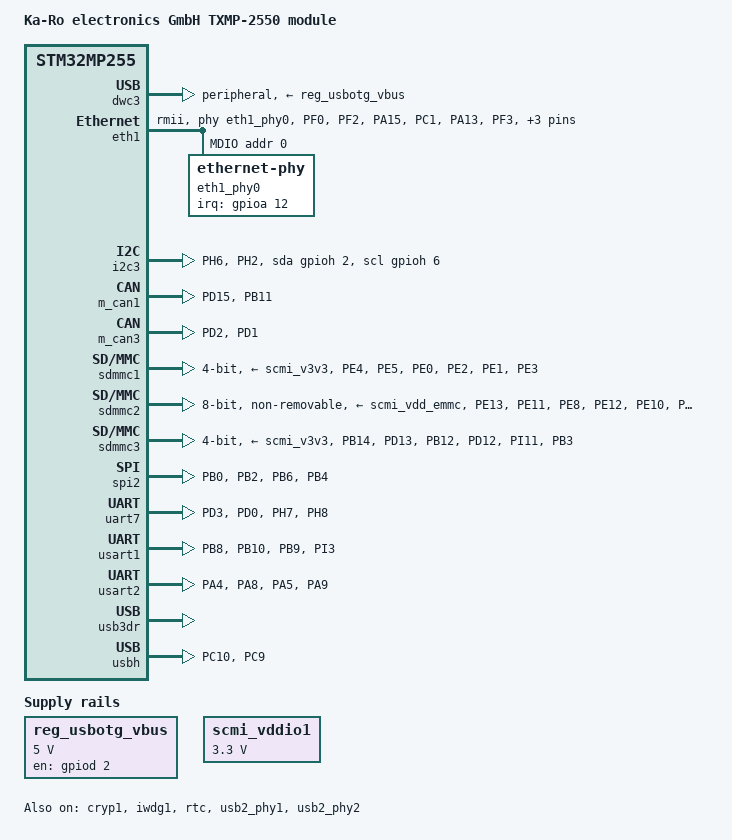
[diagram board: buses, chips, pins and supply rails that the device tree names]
// SPDX-License-Identifier: (GPL-2.0-only OR BSD-3-Clause)
/*
 * Copyright (C) 2024 Lothar Waßmann <LW@KARO-electronics.de>
 */

/dts-v1/;

#include <dt-bindings/clock/st,stm32mp25-rcc.h>
#include <dt-bindings/gpio/gpio.h>
#include <dt-bindings/interrupt-controller/irq.h>
#include <dt-bindings/phy/phy.h>
#include <dt-bindings/pinctrl/stm32-pinfunc.h>
#include "stm32mp25-karo-resmem.dtsi"
#include "stm32mp255.dtsi"
#include "stm32mp25xc.dtsi"
#include "stm32mp25xxak-pinctrl.dtsi"

/ {
	model = "Ka-Ro electronics GmbH TXMP-2550 module";
	compatible = "karo,stm32mp257f-txmp-2550", "karo,txmp", "st,stm32mp255";

	aliases {
		can0 = &m_can1;
		can1 = &m_can3;
		ethernet0 = &eth1;
		ethernet1 = &eth2;
		i2c0 = &i2c3;
		i2c1 = &i2c1;
		i2c2 = &i2c2;
		i2c3 = &i2c4;
		i2c4 = &i2c8;
		i2c5 = &i2c6;
		i2c6 = &i2c5;
		mmc0 = &sdmmc2;
		mmc1 = &sdmmc1;
		mmc2 = &sdmmc3;
		sai1 = &sai1;
		serial0 = &usart2;
		serial1 = &usart1;
		serial2 = &uart7;
		serial6 = &usart3;
		spi0 = &spi2;
		spi1 = &spi1;
		usb-host = &usbh;
		usbotg = &dwc3;
	};

	chosen {
		stdout-path = "serial0:115200n8";
	};

	reg_usbotg_vbus: usbotg-vbus-regulator {
		compatible = "regulator-fixed";
		gpios = <&gpiod 2 GPIO_ACTIVE_HIGH>;
		enable-active-high;
		regulator-name = "usbotg-vbus";
		regulator-min-microvolt = <5000000>;
		regulator-max-microvolt = <5000000>;
	};
};

&cryp1 {
	status = "okay";
};

&dwc3 {
	dr_mode = "peripheral";
	vbus-supply = <&reg_usbotg_vbus>;
};

&eth1 {
	pinctrl-names = "default", "sleep";
	pinctrl-0 = <&eth1_mdio_pins &eth1_rmii_pins>;
	pinctrl-1 = <&eth1_mdio_sleep_pins &eth1_rmii_sleep_pins>;
#if 0
	snps,reset-gpios = <&gpioa 14 GPIO_ACTIVE_LOW>;
	snps,reset-delays-us = <0 25000 100>;
#endif
	phy-mode = "rmii";
	phy-handle = <&eth1_phy0>;
	st,eth-ref-clk-sel;
	status = "okay";

	mdio {
		compatible = "snps,dwmac-mdio";
		#address-cells = <1>;
		#size-cells = <0>;
		reset-gpios = <&gpioa 14 GPIO_ACTIVE_LOW>;
		reset-assert-us = <25000>;
		reset-deassert-us = <100>;

		eth1_phy0: ethernet-phy@0 {
			reg = <0>;
			clocks = <&rcc CK_KER_ETH1>;
			interrupt-parent = <&gpioa>;
			interrupts = <12 IRQ_TYPE_EDGE_FALLING>;
			smsc,disable-energy-detect;
		};
	};
};

&hpdma {
	memory-region = <&hpdma1_lli>;
};

&hpdma2 {
	memory-region = <&hpdma2_lli>;
};

&hpdma3 {
	memory-region = <&hpdma3_lli>;
};

&i2c3 {
	pinctrl-names = "default", "sleep";
	pinctrl-0 = <&i2c3_pins>;
	pinctrl-1 = <&i2c3_sleep_pins>;
	scl-gpios = <&gpioh 6 GPIO_ACTIVE_HIGH>;
	sda-gpios = <&gpioh 2 GPIO_ACTIVE_HIGH>;
};

&iwdg1 {
	status = "okay";
};

&m_can1 {
	pinctrl-names = "default", "sleep";
	pinctrl-0 = <&fdcan1_pins>;
	pinctrl-1 = <&fdcan1_sleep_pins>;
};

&m_can3 {
	pinctrl-names = "default", "sleep";
	pinctrl-0 = <&fdcan3_pins>;
	pinctrl-1 = <&fdcan3_sleep_pins>;
};

&rtc {
	status = "okay";
};

&scmi_regu {
	scmi_vddcore: voltd-vddcore@b {
		reg = <VOLTD_SCMI_STPMIC2_BUCK2>;
		regulator-name = "vddcore";
	};

	scmi_v1v8: voltd-v1v8@e {
		reg = <VOLTD_SCMI_STPMIC2_BUCK5>;
		regulator-name = "v1v8";
	};

	scmi_v3v3: voltd-v3v3@10 {
		reg = <VOLTD_SCMI_STPMIC2_BUCK7>;
		regulator-name = "v3v3";
	};

	scmi_vdd_emmc: voltd-vdd-emmc@12 {
		reg = <VOLTD_SCMI_STPMIC2_LDO2>;
		regulator-name = "vdd_emmc";
	};

	scmi_vdd3v3_usb: voltd-vdd3v3-usb@14 {
		reg = <VOLTD_SCMI_STPMIC2_LDO4>;
		regulator-name = "vdd3v3_usb";
	};
};

&scmi_vddio1 {
	regulator-min-microvolt = <3300000>;
	regulator-max-microvolt = <3300000>;
};

&sdmmc1 {
	/* SD card slot #1 */
	pinctrl-names = "default", "opendrain", "sleep";
	pinctrl-0 = <&sdmmc1_pins>;
	pinctrl-1 = <&sdmmc1_opendrain_pins>;
	pinctrl-2 = <&sdmmc1_sleep_pins>;
	disable-wp;
	st,neg-edge;
	bus-width = <4>;
	vmmc-supply = <&scmi_v3v3>;
	vqmmc-supply = <&scmi_vddio1>;
	no-1-8-v;
};

&sdmmc2 {
	/* eMMC */
	pinctrl-names = "default", "opendrain", "sleep";
	pinctrl-0 = <&sdmmc2_pins>;
	pinctrl-1 = <&sdmmc2_opendrain_pins>;
	pinctrl-2 = <&sdmmc2_sleep_pins>;
	bus-width = <8>;
	vmmc-supply = <&scmi_vdd_emmc>;
	vqmmc-supply = <&scmi_vddio2>;
	mmc-ddr-1_8v;
	mmc-hs200-1_8v;
	no-sd;
	no-sdio;
	st,neg-edge;
	non-removable;
	status = "okay";
};

&sdmmc3 {
	/* SD card slot #2 */
	pinctrl-names = "default", "opendrain", "sleep";
	pinctrl-0 = <&sdmmc3_pins>;
	pinctrl-1 = <&sdmmc3_opendrain_pins>;
	pinctrl-2 = <&sdmmc3_sleep_pins>;
	disable-wp;
	st,neg-edge;
	bus-width = <4>;
	vmmc-supply = <&scmi_v3v3>;
	vqmmc-supply = <&scmi_vddio1>;
	no-1-8-v;
};

&spi2 {
	pinctrl-names = "default", "sleep";
	pinctrl-0 = <&spi2_pins>;
	pinctrl-1 = <&spi2_sleep_pins>;
};

&uart7 {
	pinctrl-names = "default", "idle", "sleep";
	pinctrl-0 = <&uart7_pins &uart7_rtscts_pins>;
	pinctrl-1 = <&uart7_idle_pins &uart7_rtscts_idle_pins>;
	pinctrl-2 = <&uart7_sleep_pins &uart7_rtscts_sleep_pins>;
	status = "okay";
};

&usart1 {
	pinctrl-names = "default", "idle", "sleep";
	pinctrl-0 = <&usart1_pins &usart1_rtscts_pins>;
	pinctrl-1 = <&usart1_idle_pins &usart1_rtscts_idle_pins>;
	pinctrl-2 = <&usart1_sleep_pins &usart1_rtscts_sleep_pins>;
	status = "okay";
};

&usart2 {
	/* serial console */
	pinctrl-names = "default", "idle", "sleep";
	pinctrl-0 = <&usart2_pins &usart2_rtscts_pins>;
	pinctrl-1 = <&usart2_idle_pins &usart2_rtscts_idle_pins>;
	pinctrl-2 = <&usart2_sleep_pins &usart2_rtscts_sleep_pins>;
	status = "okay";
};

&usb2_phy1 {
	vdd33-supply = <&scmi_vdd3v3_usb>;
	status = "okay";
};

&usb2_phy2 {
	vdd33-supply = <&scmi_vdd3v3_usb>;
	status = "okay";
};

&usb3dr {
	status = "okay";
};

&usbh {
	pinctrl-names = "default", "sleep";
	pinctrl-0 = <&usbh_pins>;
	pinctrl-1 = <&usbh_sleep_pins>;
	st,ovrcur-active-low;
	status = "okay";
};

&pinctrl {
	eth1_mdio_pins: eth1-mdio-pins {
		pins1 {
			pinmux = <
			          STM32_PINMUX('F', 0, AF10) /* ETH_MDC */
				  STM32_PINMUX('F', 2, AF10) /* ETH_MDIO */
			>;
			bias-disable;
			drive-push-pull;
			slew-rate = <0>;
		};
	};

	eth1_mdio_sleep_pins: eth1-mdio-sleep-pins {
		pins1 {
			pinmux = <
				  STM32_PINMUX('F', 0, ANALOG) /* ETH_MDC */
				  STM32_PINMUX('F', 2, ANALOG) /* ETH_MDIO */
			>;
		};
	};

	eth1_rmii_pins: eth1-rmii-pins {
		pins1 {
			pinmux = <
			          STM32_PINMUX('A', 15, AF10) /* ETH1_RMII_TXD0 */
				  STM32_PINMUX('C', 1, AF10) /* ETH1_RMII_TXD1 */
				  STM32_PINMUX('A', 13, AF10) /* ETH1_RMII_TX_EN */
			>;
			bias-disable;
			drive-push-pull;
			slew-rate = <3>;
		};

		pins2 {
			pinmux = <STM32_PINMUX('F', 3, AF9)>; /* ETH1_CLK */
			bias-disable;
			drive-push-pull;
			slew-rate = <1>;
		};

		pins3 {
			pinmux = <
			       	  STM32_PINMUX('F', 1, AF10) /* ETH1_RMII_RXD0 */
				  STM32_PINMUX('C', 2, AF10) /* ETH1_RMII_RXD1 */
				  STM32_PINMUX('A', 11, AF10) /* ETH1_RMII_CRS_DV */
			>;
			bias-pull-up;
		};
	};

	eth1_rmii_sleep_pins: eth1-rmii-sleep-pins {
		pins {
			pinmux = <
				  STM32_PINMUX('F', 3, ANALOG) /* ETH1_CLK */
			          STM32_PINMUX('A', 15, ANALOG) /* ETH1_RMII_TXD0 */
				  STM32_PINMUX('C', 1, ANALOG) /* ETH1_RMII_TXD1 */
				  STM32_PINMUX('A', 13, ANALOG) /* ETH1_RMII_TX_EN */
				  STM32_PINMUX('F', 1, ANALOG) /* ETH1_RMII_RXD0 */
				  STM32_PINMUX('C', 2, ANALOG) /* ETH1_RMII_RXD1 */
				  STM32_PINMUX('A', 11, ANALOG) /* ETH1_RMII_CRS_DV */
			>;
		};
	};

	fdcan1_pins: fdcan1-pins {
		pins {
			pinmux = <
				  STM32_PINMUX('D', 15, AF7) /* FDCAN1_TX */
				  STM32_PINMUX('B', 11, AF7) /* FDCAN1_RX */
			>;
		};
	};

	fdcan1_sleep_pins: fdcan1-sleep-pins {
		pins {
			pinmux = <
				  STM32_PINMUX('D', 15, ANALOG) /* FDCAN1_TX */
				  STM32_PINMUX('B', 11, ANALOG) /* FDCAN1_RX */
			>;
		};
	};

	fdcan3_pins: fdcan3-pins {
		pins {
			pinmux = <
				  STM32_PINMUX('D', 2, AF9) /* FDCAN3_TX */
				  STM32_PINMUX('D', 1, AF9) /* FDCAN3_RX */
			>;
		};
	};

	fdcan3_sleep_pins: fdcan3-sleep-pins {
		pins {
			pinmux = <
				  STM32_PINMUX('D', 2, ANALOG) /* FDCAN3_TX */
				  STM32_PINMUX('D', 1, ANALOG) /* FDCAN3_RX */
			>;
		};
	};

	i2c3_pins: i2c3-pins {
		pins {
			pinmux = <
			          STM32_PINMUX('H', 6, AF9) /* I2C3_SCL */
				  STM32_PINMUX('H', 2, AF9) /* I2C3_SDA */
			>;
			bias-pull-up;
			drive-open-drain;
			slew-rate = <0>;
		};
	};

	i2c3_sleep_pins: i2c3-sleep-pins {
		pins {
			pinmux = <
			          STM32_PINMUX('H', 6, ANALOG) /* I2C3_SCL */
				  STM32_PINMUX('H', 2, ANALOG) /* I2C3_SDA */
			>;
			bias-pull-up;
		};
	};

	sdmmc1_pins: txmp-sdmmc1-pins {
		pins1 {
			pinmux = <
				  STM32_PINMUX('E', 4, AF10) /* SDMMC1_D0 */
				  STM32_PINMUX('E', 5, AF10) /* SDMMC1_D1 */
				  STM32_PINMUX('E', 0, AF10) /* SDMMC1_D2 */
				  STM32_PINMUX('E', 2, AF10) /* SDMMC1_CMD */
			>;
			bias-disable;
			drive-push-pull;
			slew-rate = <1>;
		};

		pins2 {
			pinmux = <
				  STM32_PINMUX('E', 1, AF10) /* SDMMC1_D3 */
			>;
			bias-pull-up;
			drive-push-pull;
			slew-rate = <1>;
		};

		pins3 {
			pinmux = <STM32_PINMUX('E', 3, AF10)>; /* SDMMC1_CK */
			bias-disable;
			drive-push-pull;
			slew-rate = <1>;
		};
	};

	sdmmc1_opendrain_pins: txmp-sdmmc1-opendrain-pins {
		pins1 {
			pinmux = <
				  STM32_PINMUX('E', 4, AF10) /* SDMMC1_D0 */
				  STM32_PINMUX('E', 5, AF10) /* SDMMC1_D1 */
			       	  STM32_PINMUX('E', 0, AF10) /* SDMMC1_D2 */
			>;
			bias-disable;
			drive-push-pull;
			slew-rate = <1>;
		};

		pins2 {
			pinmux = <
				  STM32_PINMUX('E', 1, AF10) /* SDMMC1_D3 */
			>;
			bias-pull-up;
			drive-push-pull;
			slew-rate = <1>;
		};

		pins3 {
			pinmux = <STM32_PINMUX('E', 3, AF10)>; /* SDMMC1_CK */
			bias-disable;
			drive-push-pull;
			slew-rate = <1>;
		};

		pins4 {
			pinmux = <STM32_PINMUX('E', 2, AF10)>; /* SDMMC1_CMD */
			bias-disable;
			drive-open-drain;
			slew-rate = <1>;
		};
	};

	sdmmc1_sleep_pins: txmp-sdmmc1-sleep-pins {
		pins {
			pinmux = <
				  STM32_PINMUX('E', 4, ANALOG) /* SDMMC1_D0 */
				  STM32_PINMUX('E', 5, ANALOG) /* SDMMC1_D1 */
			       	  STM32_PINMUX('E', 0, ANALOG) /* SDMMC1_D2 */
				  STM32_PINMUX('E', 1, ANALOG) /* SDMMC1_D3 */
				  STM32_PINMUX('E', 3, ANALOG) /* SDMMC1_CK */
				  STM32_PINMUX('E', 2, ANALOG) /* SDMMC1_CMD */
			>;
		};
	};

	sdmmc2_pins: txmp-sdmmc2-pins {
		pins1 {
			pinmux = <
				  STM32_PINMUX('E', 13, AF12)	/* SDMMC2_D0 */
				  STM32_PINMUX('E', 11, AF12)	/* SDMMC2_D1 */
				  STM32_PINMUX('E', 8, AF12)	/* SDMMC2_D2 */
				  STM32_PINMUX('E', 12, AF12)	/* SDMMC2_D3 */
				  STM32_PINMUX('E', 10, AF12)	/* SDMMC2_D4 */
				  STM32_PINMUX('E', 9, AF12)	/* SDMMC2_D5 */
				  STM32_PINMUX('E', 6, AF12)	/* SDMMC2_D6 */
				  STM32_PINMUX('E', 7, AF12)	/* SDMMC2_D7 */
				  STM32_PINMUX('E', 15, AF12)	/* SDMMC2_CMD */
			>;
			bias-disable;
			drive-push-pull;
			slew-rate = <2>;
		};

		pins2 {
			pinmux = <STM32_PINMUX('E', 14, AF12)>; /* SDMMC2_CK */
			bias-disable;
			drive-push-pull;
			slew-rate = <3>;
		};
	};

	sdmmc2_opendrain_pins: txmp-sdmmc2-opendrain-pins {
		pins1 {
			pinmux = <
				  STM32_PINMUX('E', 13, AF12)	/* SDMMC2_D0 */
				  STM32_PINMUX('E', 11, AF12)	/* SDMMC2_D1 */
				  STM32_PINMUX('E', 8, AF12)	/* SDMMC2_D2 */
				  STM32_PINMUX('E', 12, AF12)	/* SDMMC2_D3 */
				  STM32_PINMUX('E', 10, AF12)	/* SDMMC2_D4 */
				  STM32_PINMUX('E', 9, AF12)	/* SDMMC2_D5 */
				  STM32_PINMUX('E', 6, AF12)	/* SDMMC2_D6 */
				  STM32_PINMUX('E', 7, AF12)	/* SDMMC2_D7 */
			>;
			bias-disable;
			drive-push-pull;
			slew-rate = <2>;
		};

		pins2 {
			pinmux = <STM32_PINMUX('E', 14, AF12)>; /* SDMMC2_CK */
			bias-disable;
			drive-push-pull;
			slew-rate = <3>;
		};

		pins3 {
			pinmux = <STM32_PINMUX('E', 15, AF12)>;	/* SDMMC2_CMD */
			bias-pull-up;
			drive-open-drain;
			slew-rate = <2>;
		};
	};

	sdmmc2_sleep_pins: txmp-sdmmc2-sleep-pins {
		pins {
			pinmux = <
				  STM32_PINMUX('E', 13, ANALOG)	/* SDMMC2_D0 */
				  STM32_PINMUX('E', 11, ANALOG)	/* SDMMC2_D1 */
				  STM32_PINMUX('E', 8, ANALOG)	/* SDMMC2_D2 */
				  STM32_PINMUX('E', 12, ANALOG)	/* SDMMC2_D3 */
				  STM32_PINMUX('E', 10, ANALOG)	/* SDMMC2_D4 */
				  STM32_PINMUX('E', 9, ANALOG)	/* SDMMC2_D5 */
				  STM32_PINMUX('E', 6, ANALOG)	/* SDMMC2_D6 */
				  STM32_PINMUX('E', 7, ANALOG)	/* SDMMC2_D7 */
				  STM32_PINMUX('E', 14, ANALOG)	/* SDMMC2_CK */
				  STM32_PINMUX('E', 15, ANALOG)	/* SDMMC2_CMD */
			>;
		};
	};

	sdmmc3_pins: txmp-sdmmc3-pins {
		pins1 {
			pinmux = <
				  STM32_PINMUX('B', 14, AF10) /* SDMMC3_D0 */
				  STM32_PINMUX('D', 13, AF10) /* SDMMC3_D1 */
				  STM32_PINMUX('B', 12, AF10) /* SDMMC3_D2 */
				  STM32_PINMUX('D', 12, AF10) /* SDMMC3_CMD */
			>;
			bias-disable;
			drive-push-pull;
			slew-rate = <2>;
		};

		pins2 {
			pinmux = <
				  STM32_PINMUX('I', 11, AF10) /* SDMMC3_D3 */
			>;
			bias-pull-up;
			drive-push-pull;
			slew-rate = <1>;
		};

		pins3 {
			pinmux = <STM32_PINMUX('B', 3, AF10)>; /* SDMMC3_CK */
			bias-disable;
			drive-push-pull;
			slew-rate = <3>;
		};
	};

	sdmmc3_opendrain_pins: txmp-sdmmc3-opendrain-pins {
		pins1 {
			pinmux = <
				  STM32_PINMUX('B', 14, AF10) /* SDMMC3_D0 */
				  STM32_PINMUX('D', 13, AF10) /* SDMMC3_D1 */
			       	  STM32_PINMUX('B', 12, AF10) /* SDMMC3_D2 */
				  STM32_PINMUX('I', 11, AF10) /* SDMMC3_D3 */
			>;
			bias-disable;
			drive-push-pull;
			slew-rate = <2>;
		};

		pins2 {
			pinmux = <
				  STM32_PINMUX('I', 11, AF10) /* SDMMC3_D3 */
			>;
			bias-pull-up;
			drive-push-pull;
			slew-rate = <1>;
		};

		pins3 {
			pinmux = <STM32_PINMUX('B', 3, AF10)>; /* SDMMC3_CK */
			bias-disable;
			drive-push-pull;
			slew-rate = <3>;
		};

		pins4 {
			pinmux = <STM32_PINMUX('D', 12, AF10)>; /* SDMMC3_CMD */
			bias-disable;
			drive-open-drain;
			slew-rate = <2>;
		};
	};

	sdmmc3_sleep_pins: txmp-sdmmc3-sleep-pins {
		pins {
			pinmux = <
				  STM32_PINMUX('B', 14, ANALOG) /* SDMMC3_D0 */
				  STM32_PINMUX('D', 13, ANALOG) /* SDMMC3_D1 */
			       	  STM32_PINMUX('B', 12, ANALOG) /* SDMMC3_D2 */
				  STM32_PINMUX('I', 11, ANALOG) /* SDMMC3_D3 */
				  STM32_PINMUX('B', 3, ANALOG) /* SDMMC3_CK */
				  STM32_PINMUX('D', 12, ANALOG) /* SDMMC3_CMD */
			>;
		};
	};

	spi2_pins: spi2-pins {
		pins1 {
			pinmux = <
			          STM32_PINMUX('B', 0, AF2) /* SPI2_SCLK */
				  STM32_PINMUX('B', 2, AF2) /* SPI2_MOSI */
			>;
			bias-disable;
		};

		pins2 {
			pinmux = <
				  STM32_PINMUX('B', 6, AF2) /* SPI2_MISO */
				  STM32_PINMUX('B', 4, AF2) /* SPI2_RDY */
			>;
			bias-pull-up;
		};
	};

	spi2_sleep_pins: spi2-sleep-pins {
		pins {
			pinmux = <
			          STM32_PINMUX('B', 0, ANALOG) /* SPI2_SCLK */
				  STM32_PINMUX('B', 4, ANALOG) /* SPI2_RDY */
				  STM32_PINMUX('B', 2, ANALOG) /* SPI2_MOSI */
				  STM32_PINMUX('B', 6, ANALOG) /* SPI2_MISO */
			>;
			bias-pull-up;
		};
	};

	uart7_pins: uart7-pins {
		pins1 {
			pinmux = <STM32_PINMUX('D', 3, AF6)>; /* UART7_TX */
			bias-disable;
			drive-push-pull;
			slew-rate = <0>;
		};

		pins2 {
			pinmux = <STM32_PINMUX('D', 0, AF6)>; /* UART7_RX */
			bias-pull-up;
		};
	};

	uart7_idle_pins: uart7-idle-pins {
		pins1 {
			pinmux = <STM32_PINMUX('D', 3, ANALOG)>; /* UART7_TX */
		};

		pins2 {
			pinmux = <STM32_PINMUX('D', 0, AF6)>; /* UART7_RX */
			bias-pull-up;
		};
	};

	uart7_rtscts_pins: uart7-rtscts-pins {
		pins1 {
			pinmux = <STM32_PINMUX('H', 7, AF6)>; /* UART7_RTS_DE */
			bias-disable;
			drive-push-pull;
			slew-rate = <0>;
		};

		pins2 {
			pinmux = <STM32_PINMUX('H', 8, AF6)>; /* UART7_CTS */
			bias-pull-up;
		};
	};

	uart7_rtscts_idle_pins: uart7-rtscts-idle-pins {
		pins1 {
			pinmux = <STM32_PINMUX('H', 7, ANALOG)>; /* UART7_RTS_DE */
		};

		pins2 {
			pinmux = <STM32_PINMUX('H', 8, ANALOG)>; /* UART7_CTS */
			bias-pull-up;
		};
	};

	uart7_rtscts_sleep_pins: uart7-rtscts-sleep-pins {
		pins {
			pinmux = <
				  STM32_PINMUX('H', 7, ANALOG) /* UART7_RTS_DE */
				  STM32_PINMUX('H', 8, ANALOG) /* UART7_CTS */
			>;
		};
	};

	uart7_sleep_pins: uart7-sleep-pins {
		pins {
			pinmux = <
				  STM32_PINMUX('D', 3, ANALOG) /* UART7_TX */
				  STM32_PINMUX('D', 0, ANALOG) /* UART7_RX */
			>;
		};
	};

	usart1_pins: usart1-pins {
		pins1 {
			pinmux = <STM32_PINMUX('B', 8, AF6)>; /* USART1_TX */
			bias-disable;
			drive-push-pull;
			slew-rate = <0>;
		};

		pins2 {
			pinmux = <STM32_PINMUX('B', 10, AF6)>; /* USART1_RX */
			bias-pull-up;
		};
	};

	usart1_idle_pins: usart1-idle-pins {
		pins1 {
			pinmux = <STM32_PINMUX('B', 8, ANALOG)>; /* USART1_TX */
		};

		pins2 {
			pinmux = <STM32_PINMUX('B', 9, AF6)>; /* USART1_RTS */
			bias-disable;
			drive-push-pull;
			slew-rate = <0>;
		};
		pins3 {
			pinmux = <STM32_PINMUX('B', 10, AF6)>; /* USART1_RX */
			bias-pull-up;
		};
	};

	usart1_rtscts_pins: usart1-rtscts-pins {
		pins1 {
			pinmux = <STM32_PINMUX('B', 9, AF6)>; /* USART1_RTS */
			bias-disable;
			drive-push-pull;
			slew-rate = <0>;
		};

		pins2 {
			pinmux = <STM32_PINMUX('I', 3, AF6)>; /* USART1_CTS_NSS */
			bias-pull-up;
		};
	};

	usart1_rtscts_idle_pins: usart1-rtscts-idle-pins {
		pins1 {
			pinmux = <STM32_PINMUX('I', 3, ANALOG)>; /* USART1_CTS_NSS */
		};

		pins2 {
			pinmux = <STM32_PINMUX('B', 9, AF6)>; /* USART1_RTS */
			bias-disable;
			drive-push-pull;
			slew-rate = <0>;
		};
	};

	usart1_rtscts_sleep_pins: usart1-rtscts-sleep-pins {
		pins {
			pinmux = <
				  STM32_PINMUX('B', 9, ANALOG) /* USART1_RTS */
				  STM32_PINMUX('I', 3, ANALOG) /* USART1_CTS_NSS */
			>;
		};
	};

	usart1_sleep_pins: usart1-sleep-pins {
		pins {
			pinmux = <
			          STM32_PINMUX('B', 8, ANALOG) /* USART1_TX */
				  STM32_PINMUX('B', 10, ANALOG) /* USART1_RX */
			>;
		};
	};

	usart2_pins: usart2-pins {
		pins1 {
			pinmux = <STM32_PINMUX('A', 4, AF6)>; /* USART2_TX */
			bias-disable;
			drive-push-pull;
			slew-rate = <0>;
		};

		pins2 {
			pinmux = <STM32_PINMUX('A', 8, AF8)>; /* USART2_RX */
			bias-pull-up;
		};
	};

	usart2_idle_pins: usart2-idle-pins {
		pins1 {
			pinmux = <STM32_PINMUX('A', 4, ANALOG)>; /* USART2_TX */
		};

		pins2 {
			pinmux = <STM32_PINMUX('A', 8, AF8)>; /* USART2_RX */
			bias-pull-up;
		};
	};

	usart2_rtscts_pins: usart2-rtscts-pins {
		pins1 {
			pinmux = <STM32_PINMUX('A', 5, AF6)>; /* USART2_RTS */
			bias-disable;
			drive-push-pull;
			slew-rate = <0>;
		};

		pins2 {
			pinmux = <STM32_PINMUX('A', 9, AF6)>; /* USART2_CTS_NSS */
			bias-pull-up;
		};
	};

	usart2_rtscts_idle_pins: usart2-rtscts-idle-pins {
		pins1 {
			pinmux = <STM32_PINMUX('A', 5, ANALOG)>; /* USART2_RTS */
		};

		pins2 {
			pinmux = <STM32_PINMUX('A', 9, AF8)>; /* USART2_CTS_NSS */
			bias-pull-up;
		};
	};

	usart2_rtscts_sleep_pins: usart2-rtscts-sleep-pins {
		pins {
			pinmux = <
				  STM32_PINMUX('A', 5, ANALOG) /* USART2_RTS */
				  STM32_PINMUX('A', 9, ANALOG) /* USART2_CTS_NSS */
			>;
		};
	};

	usart2_sleep_pins: usart2-sleep-pins {
		pins {
			pinmux = <
				  STM32_PINMUX('A', 4, ANALOG) /* USART2_TX */
				  STM32_PINMUX('A', 8, ANALOG) /* USART2_RX */
			>;
		};
	};

	usbh_pins: usbh-pins {
		pins1 {
			pinmux = <
				  STM32_PINMUX('C', 10, AF9) /* USBH_HS_VBUSEN */
			>;
		};

		pins2 {
			pinmux = <
				  STM32_PINMUX('C', 9, AF9) /* USBH_HS_OVRCUR */
			>;
			bias-pull-up;
		};
	};

	usbh_sleep_pins: usbh-sleep-pins {
		pins {
			pinmux = <
				  STM32_PINMUX('C', 10, ANALOG) /* USBH_HS_VBUSEN */
				  STM32_PINMUX('C', 9, ANALOG) /* USBH_HS_OVRCUR */
			>;
		};
	};
};
